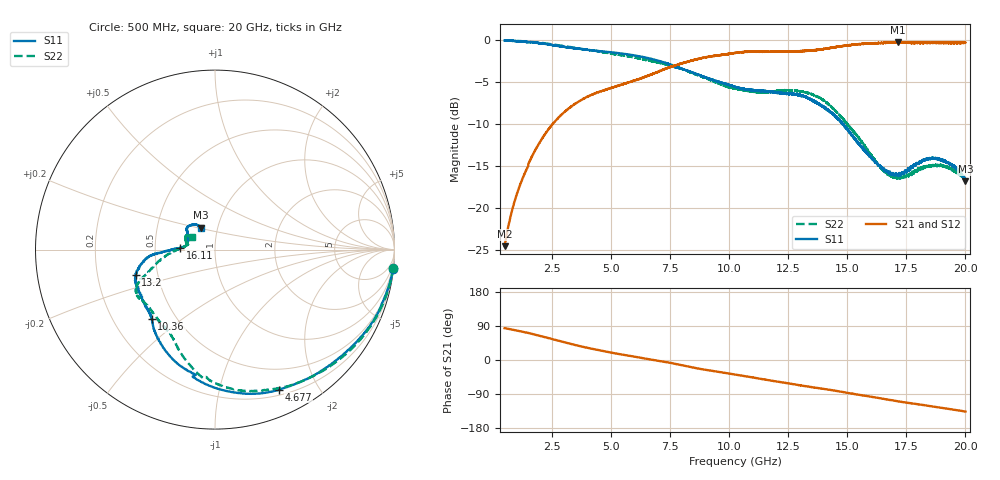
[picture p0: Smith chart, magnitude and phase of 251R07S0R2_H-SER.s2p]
!{201R07S0R2}
!Johanson Technology Inc.
!www.johansontechnology.com
!Test Board Conditions:
!Substrate Type  RO4350B
!Substrate Thickness  10 mil
!Substrate Dk  3.66
!TL Type: GCPW
!TL Trace Width  21 mil
!TL Gap  20 mil
!Electrode orientation  Horizontal
!DUT TOPOLOGY	SERIES
!Mounting Pad LxW  16x21 mil
!Agilent Technologies,N5230A,MY45001966,A.07.50.67
!Agilent N5230A: A.07.50.67
! Created Mon Mar  9 16:13:13 2020
# mhz S ma R 50
! 2 Port Network Data from SP1.SP block
! freq  magS11  angS11  magS21  angS21  magS12  angS12  magS22  angS22
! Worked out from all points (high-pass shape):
!   19501 points, 500 MHz to 20 GHz, reference 50 ohm
!   highest |S21| = -0.22 dB at 17.15 GHz (marker M1); lowest = -24.6 dB at 500 MHz (marker M2)
!   |S21| within 3 dB of the highest: 7.475 GHz to 7.4765 GHz (1.5 MHz wide, 0.0201 % of centre); 7.477 GHz to end of sweep (the widest 2 of 3)
!   lowest |S11| = -16.8 dB at 20 GHz (marker M3), VSWR 1.34, Z = 41.6 + j10.4 ohm
!   |S11| at or under -10 dB: 14.80826 GHz to 14.81183 GHz (3.565 MHz wide, 0.0241 % of centre); 14.8151 GHz to 14.81892 GHz (3.824 MHz wide, 0.0258 % of centre); 14.82 GHz to end of sweep (the widest 3 of 7)
!   |S22| runs from -16.7 to 0.0 dB; largest |S21 - S12| = 0.021
!   S11 on the Smith chart (normalised r, x): 500 MHz: 0, -19; 4.677 GHz: 0.26, -1.53; 10.36 GHz: 0.37, -0.39; 13.2 GHz: 0.37, -0.13; 16.11 GHz: 0.67, +0.02; 20 GHz: 0.83, +0.21
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500  0.9976 -6.1  0.05921 84.1  0.05932 84.3  0.9982 -5.7
1025  0.9901 -12.5  0.1219 77.5  0.1221 77.5  0.9923 -11.9
1776  0.9682 -23.1  0.2185 67.1  0.2195 67.1  0.9755 -22.2
2655  0.9308 -36.6  0.3314 53.0  0.3315 53.0  0.9412 -35.8
3750  0.8866 -53.5  0.4414 35.6  0.4419 35.7  0.89 -52.9
4677  0.8577 -65.4  0.5026 23.7  0.5039 23.6  0.8503 -65.2
5862  0.8184 -78.4  0.5687 10.3  0.5686 10.3  0.7977 -79.6
7000  0.7567 -92.8  0.65 -2.3  0.6491 -2.2  0.7365 -91.0
8720  0.6226 -117.0  0.7759 -22.8  0.7769 -22.8  0.6167 -107.2
10250  0.5287 -131.5  0.8404 -38.3  0.8405 -38.4  0.5165 -123.0
10361  0.5234 -132.3  0.8442 -39.5  0.8443 -39.5  0.5125 -124.7
12075  0.4885 -147.4  0.8566 -57.3  0.8524 -57.7  0.4991 -147.3
13196  0.4639 -162.5  0.8661 -68.8  0.862 -68.7  0.4891 -154.0
13500  0.4411 -166.1  0.8717 -71.7  0.8593 -71.6  0.4777 -155.6
14511  0.3504 -175.1  0.9121 -81.3  0.9088 -81.2  0.3779 -162.6
16108  0.1946 176.8  0.9586 -97.9  0.9638 -98.0  0.1968 178.7
16750  0.1625 171.5  0.9683 -104.8  0.9718 -104.5  0.1591 171.3
17146  0.1561 163.9  0.9747 -109.0  0.9723 -108.5  0.153 169.2
18664  0.1979 140.2  0.9657 -123.1  0.9659 -123.4  0.1785 155.8
19491  0.1782 128.2  0.9652 -131.0  0.9654 -130.9  0.169 153.0
19998  0.1447 122.5  0.9672 -136.1  0.9649 -136.0  0.1463 151.4
20000  0.145 122.4  0.9689 -136.0  0.9684 -136.0  0.1472 151.0
